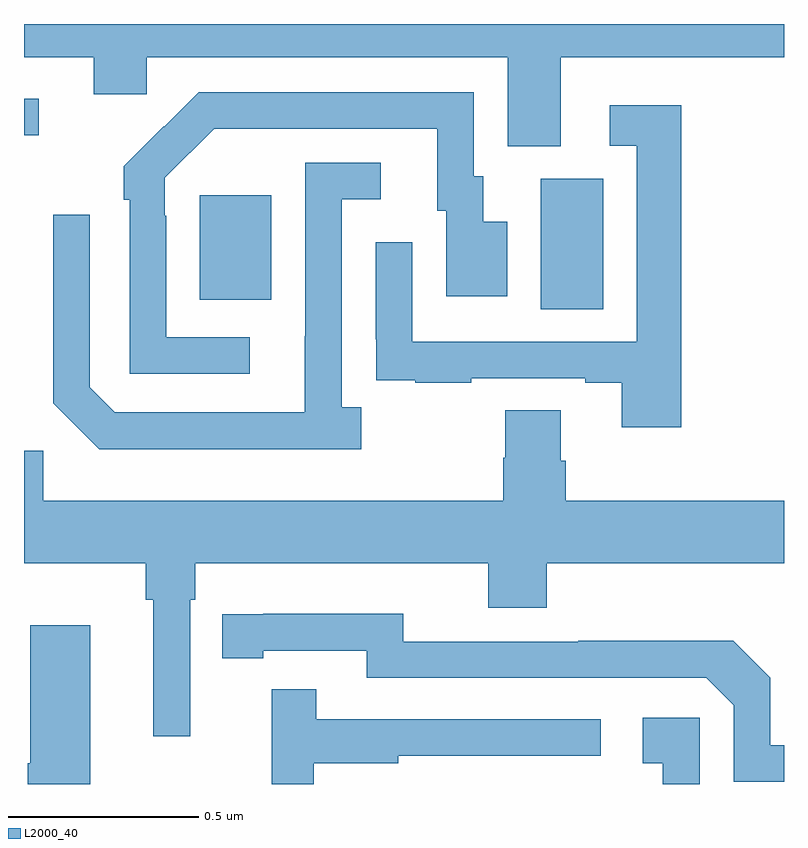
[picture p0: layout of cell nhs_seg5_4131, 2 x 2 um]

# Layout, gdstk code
import gdstk
lib = gdstk.Library(unit=1e-6, precision=1e-09)
def R(c, l, rs):  # rectangles x0, y0, x1, y1
    for r in rs: c.add(gdstk.rectangle(r[:2], r[2:], *l))
def P(c, l, *ps):  # polygons
    for p in ps: c.add(gdstk.Polygon(p, *l))
L2000_40 = (2000, 40)

nhs_seg5_4131 = lib.new_cell('nhs_seg5_4131')
R(nhs_seg5_4131, L2000_40, [(167.36,904.048,167.524,904.392), (166.463,904.073,166.651,904.348), (166,904.506,166.039,904.602)])
P(nhs_seg5_4131, L2000_40, [(167.413,904.712),(168,904.712),(168,904.799),(166,904.799),(166,904.712),(166.184,904.712),(166.184,904.614),(166.323,904.614),(166.323,904.712),(167.273,904.712),(167.273,904.477),(167.413,904.477)],
  [(166.594,903.975),(166.374,903.975),(166.374,904.295),(166.371,904.295),(166.371,904.395),(166.5,904.524),(167.087,904.524),(167.087,904.308),(167.111,904.308),(167.111,904.083),(167.272,904.083),(167.272,904.279),(167.209,904.279),(167.209,904.398),(167.184,904.398),(167.184,904.62),(166.46,904.62),(166.369,904.529),(166.368,904.53),(166.263,904.425),(166.263,904.337),(166.278,904.337),(166.278,903.879),(166.594,903.879)],
  [(167.729,904.585),(167.541,904.585),(167.541,904.479),(167.613,904.479),(167.613,903.963),(167.022,903.963),(167.022,904.225),(166.926,904.225),(166.926,903.97),(166.927,903.97),(166.927,903.861),(167.029,903.861),(167.029,903.855),(167.177,903.855),(167.177,903.867),(167.477,903.867),(167.477,903.855),(167.573,903.855),(167.573,903.738),(167.729,903.738)],
  [(166.888,903.79),(166.836,903.79),(166.836,904.338),(166.939,904.338),(166.939,904.434),(166.74,904.434),(166.74,903.977),(166.739,903.977),(166.739,903.777),(166.239,903.777),(166.173,903.843),(166.173,904.297),(166.077,904.297),(166.077,903.801),(166.198,903.68),(166.888,903.68)],
  [(166.437,903.284),(166.451,903.284),(166.451,903.38),(167.222,903.38),(167.222,903.263),(167.375,903.263),(167.375,903.38),(168,903.38),(168,903.544),(167.426,903.544),(167.426,903.65),(167.413,903.65),(167.413,903.782),(167.266,903.782),(167.266,903.657),(167.261,903.657),(167.261,903.544),(166.05,903.544),(166.05,903.676),(166,903.676),(166,903.38),(166.321,903.38),(166.321,903.284),(166.34,903.284),(166.34,902.925),(166.437,902.925)],
  [(168,902.901),(167.964,902.901),(167.964,903.078),(167.866,903.176),(167.458,903.176),(167.458,903.174),(166.998,903.174),(166.998,903.247),(166.63,903.247),(166.63,903.246),(166.522,903.246),(166.522,903.13),(166.63,903.13),(166.63,903.15),(166.902,903.15),(166.902,903.078),(167.796,903.078),(167.868,903.006),(167.868,902.805),(168,902.805)],
  [(166.174,903.217),(166.016,903.217),(166.016,902.853),(166.01,902.853),(166.01,902.799),(166.174,902.799)],
  [(166.762,902.854),(166.985,902.854),(166.985,902.874),(167.518,902.874),(167.518,902.97),(166.769,902.97),(166.769,903.049),(166.652,903.049),(166.652,902.799),(166.762,902.799)],
  [(167.778,902.974),(167.628,902.974),(167.628,902.853),(167.681,902.853),(167.681,902.799),(167.778,902.799)])

lib.write_gds('nhs_seg5_4131.gds')
